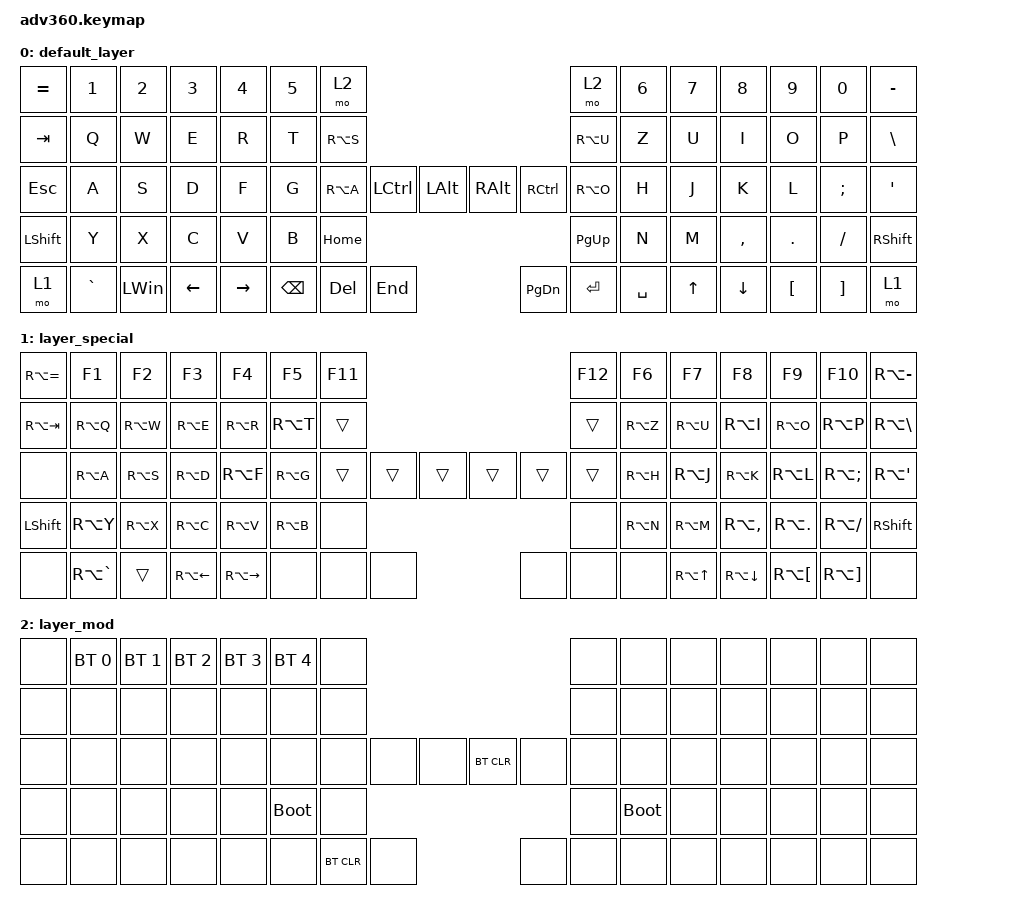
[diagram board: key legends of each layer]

/*
 * Copyright (c) 2020 The ZMK Contributors
 *
 * SPDX-License-Identifier: MIT
 */


/* THIS FILE WAS GENERATED!
 *
 * This file was generated automatically. You may or may not want to
 * edit it directly.
 */

#include <behaviors.dtsi>
#include <dt-bindings/zmk/keys.h>
#include <dt-bindings/zmk/bt.h>

/ {
  behaviors {
    #include "macros.dtsi"
    #include "version.dtsi"

    hm: homerow_mods {
        compatible = "zmk,behavior-hold-tap";
        label = "HOMEROW_MODS";
        #binding-cells = <2>;
        tapping-term-ms = <200>;
        quick_tap_ms = <175>;
        flavor = "tap-preferred";
        bindings = <&kp>, <&kp>;
    };
  };

    keymap {
        compatible = "zmk,keymap";


        default_layer {
            bindings = <
 &kp EQUAL     &kp N1        &kp N2    &kp N3     &kp N4  &kp N5                &mo 2                                                                 &mo 2  &kp N6  &kp N7     &kp N8    &kp N9    &kp N0  &kp MINUS
   &kp TAB      &kp Q         &kp W     &kp E      &kp R   &kp T            &kp RA(S)                                                             &kp RA(U)   &kp Z   &kp U      &kp I     &kp O     &kp P   &kp BSLH
   &kp ESC      &kp A         &kp S     &kp D      &kp F   &kp G            &kp RA(A)  &kp LCTRL  &kp LALT                   &kp RALT  &kp RCTRL  &kp RA(O)   &kp H   &kp J      &kp K     &kp L  &kp SEMI    &kp SQT
 &kp LSHFT      &kp Y         &kp X     &kp C      &kp V   &kp B                                  &kp HOME                  &kp PG_UP                         &kp N   &kp M  &kp COMMA   &kp DOT  &kp FSLH  &kp RSHFT
     &mo 1  &kp GRAVE  &kp LEFT_WIN  &kp LEFT  &kp RIGHT                     &kp BSPC    &kp DEL   &kp END                  &kp PG_DN  &kp ENTER  &kp SPACE          &kp UP   &kp DOWN  &kp LBKT  &kp RBKT      &mo 1
            >;
        };

        layer_special {
            bindings = <
 &kp RA(EQUAL)         &kp F1     &kp F2        &kp F3         &kp F4     &kp F5            &kp F11                                                  &kp F12     &kp F6      &kp F7         &kp F8                &kp F9                &kp F10      &kp RA(MINUS)
   &kp RA(TAB)      &kp RA(Q)  &kp RA(W)     &kp RA(E)      &kp RA(R)  &kp RA(T)             &trans                                                   &trans  &kp RA(Z)   &kp RA(U)      &kp RA(I)             &kp RA(O)              &kp RA(P)  &kp RA(BACKSLASH)
         &none      &kp RA(A)  &kp RA(S)     &kp RA(D)      &kp RA(F)  &kp RA(G)             &trans  &trans  &trans                  &trans  &trans   &trans  &kp RA(H)   &kp RA(J)      &kp RA(K)             &kp RA(L)      &kp RA(SEMICOLON)       &kp RA(APOS)
     &kp LSHFT      &kp RA(Y)  &kp RA(X)     &kp RA(C)      &kp RA(V)  &kp RA(B)                              &none                   &none                   &kp RA(N)   &kp RA(M)  &kp RA(COMMA)           &kp RA(DOT)          &kp RA(SLASH)         &kp RSHIFT
         &none  &kp RA(GRAVE)     &trans  &kp RA(LEFT)  &kp RA(RIGHT)                         &none   &none   &none                   &none   &none    &none             &kp RA(UP)   &kp RA(DOWN)  &kp RA(LEFT_BRACKET)  &kp RA(RIGHT_BRACKET)              &none
            >;
        };

        layer_mod {
            bindings = <
  &none  &bt BT_SEL 0  &bt BT_SEL 1  &bt BT_SEL 2  &bt BT_SEL 3  &bt BT_SEL 4            &none                                                           &none        &none   &none   &none   &none   &none   &none
  &none         &none         &none         &none         &none         &none            &none                                                           &none        &none   &none   &none   &none   &none   &none
  &none         &none         &none         &none         &none         &none            &none       &none   &none                  &bt BT_CLR   &none   &none        &none   &none   &none   &none   &none   &none
  &none         &none         &none         &none         &none   &bootloader                                &none                       &none                  &bootloader   &none   &none   &none   &none   &none
  &none         &none         &none         &none         &none                          &none  &bt BT_CLR   &none                       &none   &none   &none                &none   &none   &none   &none   &none
            >;
        };

    };
};
